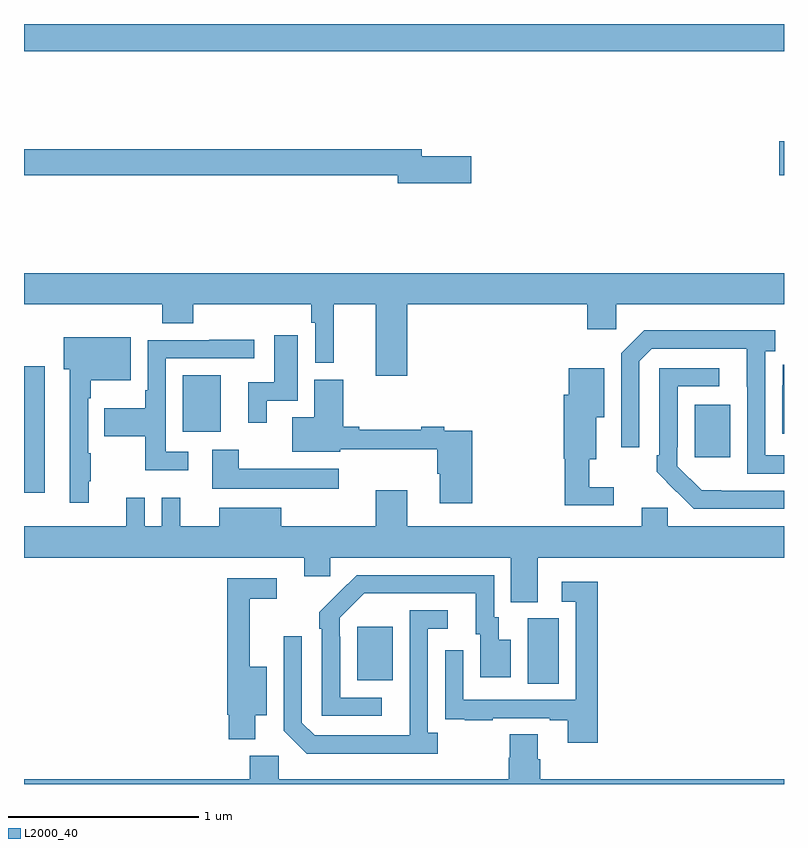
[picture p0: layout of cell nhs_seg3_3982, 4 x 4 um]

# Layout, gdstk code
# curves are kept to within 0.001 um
import gdstk
lib = gdstk.Library(unit=1e-6, precision=1e-09)
def R(c, l, rs):  # rectangles x0, y0, x1, y1
    for r in rs: c.add(gdstk.rectangle(r[:2], r[2:], *l))
def P(c, l, *ps):  # polygons
    for p in ps: c.add(gdstk.Polygon(p, *l))
L2000_40 = (2000, 40)

nhs_seg3_3982 = lib.new_cell('nhs_seg3_3982')
R(nhs_seg3_3982, L2000_40, [(321.65,690.928,321.814,691.272), (320.753,690.947,320.941,691.228), (319,691.932,319.108,692.599), (322.529,692.121,322.717,692.395), (319.835,692.255,320.035,692.551), (322.974,693.605,323,693.783), (319,694.256,323,694.4)])
P(nhs_seg3_3982, L2000_40, [(321.355,693.704),(321.094,693.704),(321.094,693.74),(319,693.74),(319,693.604),(320.966,693.604),(320.966,693.562),(321.355,693.562)],
  [(321.016,692.924),(321.965,692.924),(321.965,692.793),(322.116,692.793),(322.116,692.924),(323,692.924),(323,693.088),(319,693.088),(319,692.924),(319.727,692.924),(319.727,692.825),(319.892,692.825),(319.892,692.924),(320.512,692.924),(320.512,692.828),(320.532,692.828),(320.532,692.616),(320.631,692.616),(320.631,692.924),(320.852,692.924),(320.852,692.55),(321.016,692.55)],
  [(323,692.13),(322.902,692.13),(322.902,692.678),(322.954,692.678),(322.954,692.788),(322.264,692.788),(322.143,692.667),(322.143,692.172),(322.239,692.172),(322.239,692.625),(322.305,692.691),(322.805,692.691),(322.806,692.034),(323,692.034)],
  [(320.278,692.418),(320.44,692.418),(320.44,692.761),(320.318,692.761),(320.318,692.514),(320.18,692.514),(320.18,692.301),(320.278,692.301)],
  [(319.34,691.993),(319.351,691.993),(319.351,692.141),(319.338,692.141),(319.338,692.429),(319.351,692.429),(319.351,692.525),(319.561,692.525),(319.561,692.752),(319.208,692.752),(319.208,692.582),(319.241,692.582),(319.241,691.881),(319.34,691.881)],
  [(319.864,692.148),(319.746,692.148),(319.746,692.64),(320.212,692.64),(320.212,692.738),(319.975,692.738),(319.975,692.736),(319.65,692.736),(319.65,692.473),(319.638,692.473),(319.638,692.377),(319.423,692.377),(319.423,692.23),(319.638,692.23),(319.638,692.051),(319.864,692.051)],
  [(323,692.607),(322.993,692.607),(322.993,692.498),(322.992,692.498),(322.992,692.244),(323,692.244)],
  [(323,691.944),(322.566,691.945),(322.437,692.073),(322.437,692.173),(322.44,692.173),(322.44,692.493),(322.66,692.493),(322.66,692.589),(322.344,692.589),(322.344,692.131),(322.329,692.131),(322.329,692.043),(322.434,691.938),(322.435,691.939),(322.526,691.848),(323,691.848)],
  [(322.105,691.963),(321.976,691.963),(321.976,692.108),(322.012,692.108),(322.012,692.33),(322.054,692.33),(322.054,692.587),(321.866,692.587),(321.866,692.448),(321.842,692.448),(321.842,692.112),(321.847,692.112),(321.847,691.866),(322.105,691.866)],
  [(321.359,692.259),(321.212,692.259),(321.212,692.279),(321.092,692.279),(321.092,692.264),(320.764,692.264),(320.764,692.279),(320.681,692.279),(320.681,692.527),(320.528,692.527),(320.528,692.329),(320.411,692.329),(320.411,692.15),(320.664,692.15),(320.664,692.162),(321.176,692.162),(321.176,692.032),(321.188,692.032),(321.188,691.878),(321.359,691.878)],
  [(320.656,692.059),(320.131,692.059),(320.131,692.158),(319.991,692.158),(319.991,691.955),(320.656,691.955)],
  [(321.703,691.592),(323,691.592),(323,691.756),(322.389,691.756),(322.389,691.854),(322.25,691.854),(322.25,691.756),(321.016,691.756),(321.016,691.945),(320.852,691.945),(320.852,691.756),(320.353,691.756),(320.353,691.855),(320.027,691.855),(320.027,691.756),(319.823,691.756),(319.823,691.906),(319.725,691.906),(319.725,691.756),(319.635,691.756),(319.635,691.906),(319.538,691.906),(319.538,691.756),(319,691.756),(319,691.592),(320.474,691.592),(320.474,691.494),(320.613,691.494),(320.613,691.592),(321.563,691.592),(321.563,691.357),(321.703,691.357)],
  [(320.884,690.855),(320.664,690.855),(320.664,691.175),(320.661,691.175),(320.661,691.275),(320.79,691.404),(321.377,691.404),(321.377,691.188),(321.401,691.188),(321.401,690.963),(321.562,690.963),(321.562,691.159),(321.499,691.159),(321.499,691.278),(321.474,691.278),(321.474,691.5),(320.75,691.5),(320.553,691.305),(320.553,691.217),(320.568,691.217),(320.568,690.759),(320.884,690.759)],
  [(320.218,690.761),(320.278,690.761),(320.278,691.018),(320.189,691.018),(320.189,691.374),(320.329,691.374),(320.329,691.482),(320.071,691.482),(320.071,690.765),(320.078,690.765),(320.078,690.635),(320.218,690.635)],
  [(322.019,691.465),(321.831,691.465),(321.831,691.359),(321.903,691.359),(321.903,690.843),(321.312,690.843),(321.312,691.105),(321.216,691.105),(321.216,690.85),(321.217,690.85),(321.217,690.741),(321.319,690.741),(321.319,690.735),(321.467,690.735),(321.467,690.747),(321.767,690.747),(321.767,690.735),(321.863,690.735),(321.863,690.618),(322.019,690.618)],
  [(321.178,690.67),(321.126,690.67),(321.126,691.218),(321.229,691.218),(321.229,691.314),(321.03,691.314),(321.03,690.657),(320.529,690.657),(320.463,690.723),(320.463,691.177),(320.367,691.177),(320.367,690.681),(320.488,690.56),(321.178,690.56)],
  [(323,690.424),(321.716,690.424),(321.716,690.53),(321.703,690.53),(321.703,690.662),(321.556,690.662),(321.556,690.537),(321.551,690.537),(321.551,690.424),(320.34,690.424),(320.34,690.55),(320.189,690.55),(320.189,690.424),(319,690.424),(319,690.4),(323,690.4)])

lib.write_gds('nhs_seg3_3982.gds')
